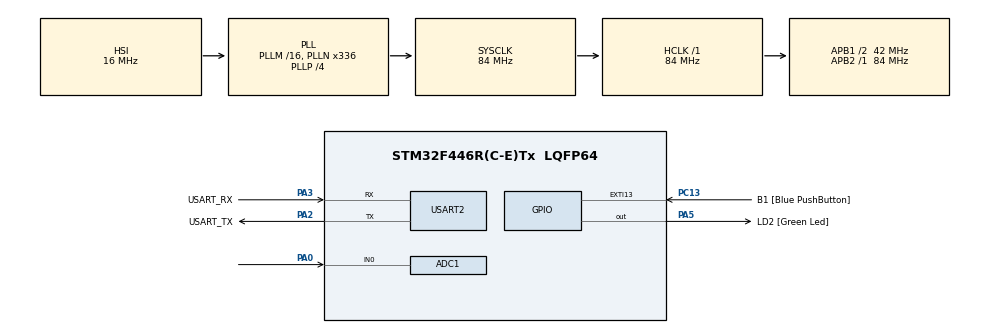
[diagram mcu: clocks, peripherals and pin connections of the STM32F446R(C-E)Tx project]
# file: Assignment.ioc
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ADC1.Channel-2\#ChannelRegularConversion=ADC_CHANNEL_0
ADC1.DMAContinuousRequests=ENABLE
ADC1.NbrOfConversionFlag=1
ADC1.Rank-2\#ChannelRegularConversion=1
ADC1.SamplingTime-2\#ChannelRegularConversion=ADC_SAMPLETIME_3CYCLES
ADC1.master=1
Dma.ADC1.0.Direction=DMA_PERIPH_TO_MEMORY
Dma.ADC1.0.FIFOMode=DMA_FIFOMODE_DISABLE
Dma.ADC1.0.Instance=DMA2_Stream0
Dma.ADC1.0.MemDataAlignment=DMA_MDATAALIGN_HALFWORD
Dma.ADC1.0.MemInc=DMA_MINC_ENABLE
Dma.ADC1.0.Mode=DMA_NORMAL
Dma.ADC1.0.PeriphDataAlignment=DMA_PDATAALIGN_HALFWORD
Dma.ADC1.0.PeriphInc=DMA_PINC_DISABLE
Dma.ADC1.0.Priority=DMA_PRIORITY_HIGH
Dma.Request0=ADC1
Mcu.Family=STM32F4
Mcu.Name=STM32F446R(C-E)Tx
Mcu.Package=LQFP64
NVIC.DMA2_Stream0_IRQn=true\:0\:0\:false\:false\:true\:false\:true\:true
NVIC.PriorityGroup=NVIC_PRIORITYGROUP_0
PA0-WKUP.Signal=ADCx_IN0
PA13.GPIO_Label=TMS
PA13.Mode=Serial_Wire
PA13.Signal=SYS_JTMS-SWDIO
PA14.GPIO_Label=TCK
PA14.Mode=Serial_Wire
PA14.Signal=SYS_JTCK-SWCLK
PA2.GPIO_Label=USART_TX
PA2.Mode=Asynchronous
PA2.Signal=USART2_TX
PA3.GPIO_Label=USART_RX
PA3.Mode=Asynchronous
PA3.Signal=USART2_RX
PA5.GPIO_Label=LD2 [Green Led]
PA5.Signal=GPIO_Output
PB3.GPIO_Label=SWO
PB3.Signal=SYS_JTDO-SWO
PC13.GPIO_Label=B1 [Blue PushButton]
PC13.GPIO_ModeDefaultEXTI=GPIO_MODE_IT_FALLING
PC13.Signal=GPXTI13
PC14-OSC32_IN.Mode=LSE-External-Oscillator
PC14-OSC32_IN.Signal=RCC_OSC32_IN
PC15-OSC32_OUT.Mode=LSE-External-Oscillator
PC15-OSC32_OUT.Signal=RCC_OSC32_OUT
PH0-OSC_IN.Mode=HSE-External-Oscillator
PH0-OSC_IN.Signal=RCC_OSC_IN
PH1-OSC_OUT.Mode=HSE-External-Oscillator
PH1-OSC_OUT.Signal=RCC_OSC_OUT
ProjectManager.HeapSize=0x200
ProjectManager.StackSize=0x400
ProjectManager.TargetToolchain=STM32CubeIDE
RCC.48MHZClocksFreq_Value=84000000
RCC.AHBFreq_Value=84000000
RCC.APB1CLKDivider=RCC_HCLK_DIV2
RCC.APB1Freq_Value=42000000
RCC.APB1TimFreq_Value=84000000
RCC.APB2Freq_Value=84000000
RCC.APB2TimFreq_Value=84000000
RCC.CortexFreq_Value=84000000
RCC.FLatency-AdvancedSettings=FLASH_LATENCY_2
RCC.HCLKFreq_Value=84000000
RCC.HSE_VALUE=8000000
RCC.HSI_VALUE=16000000
RCC.PLLN=336
RCC.PLLP=RCC_PLLP_DIV4
RCC.SYSCLKFreq_VALUE=84000000
RCC.SYSCLKSource=RCC_SYSCLKSOURCE_PLLCLK
RCC.USBFreq_Value=168000000
RCC.VCOOutputFreq_Value=336000000
SH.ADCx_IN0.0=ADC1_IN0,IN0
TIM2.Period=99
TIM2.Prescaler=8399
TIM2.TIM_MasterOutputTrigger=TIM_TRGO_UPDATE
USART2.VirtualMode=VM_ASYNC
VP_TIM2_VS_ClockSourceINT.Mode=Internal
board=NUCLEO-F446RE

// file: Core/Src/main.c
/* USER CODE BEGIN Header */
/**
  ******************************************************************************
  * @file           : main.c
  * @brief          : Main program body
  ******************************************************************************
  * @attention
  *
  * Copyright (c) 2026 STMicroelectronics.
  * All rights reserved.
  *
  * This software is licensed under terms that can be found in the LICENSE file
  * in the root directory of this software component.
  * If no LICENSE file comes with this software, it is provided AS-IS.
  *
  ******************************************************************************
  */
/* USER CODE END Header */
#include "main.h"

/* USER CODE BEGIN Includes */
#include <stdio.h>
#include <string.h>

/* USER CODE END Includes */

ADC_HandleTypeDef hadc1;
DMA_HandleTypeDef hdma_adc1;

TIM_HandleTypeDef htim2;

UART_HandleTypeDef huart2;

/* USER CODE BEGIN PV */

/*uint16_t adcBuf[ADC_BUF_LEN];
char uartTxBuf[256];

extern ADC_HandleTypeDef hadc1;
extern TIM_HandleTypeDef htim2;
extern UART_HandleTypeDef huart2;

void sendAdcDataOverUart(uint16_t start, uint16_t len);***/
/* USER CODE END PV */

void SystemClock_Config(void);
static void MX_GPIO_Init(void);
static void MX_DMA_Init(void);
static void MX_ADC1_Init(void);
static void MX_USART2_UART_Init(void);
static void MX_TIM2_Init(void);
/* USER CODE BEGIN PFP */
#define ADC_BUF_LEN 64

uint16_t adcBuf[ADC_BUF_LEN];
char uartTxBuf[256];

extern ADC_HandleTypeDef hadc1;
extern TIM_HandleTypeDef htim2;
extern UART_HandleTypeDef huart2;

void sendAdcDataOverUart(uint16_t start, uint16_t len);
/* USER CODE END PFP */

int main(void)
{

  /* MCU Configuration--------------------------------------------------------*/

  /* Reset of all peripherals, Initializes the Flash interface and the Systick. */
  HAL_Init();

  /* Configure the system clock */
  SystemClock_Config();

  /* Initialize all configured peripherals */
  MX_GPIO_Init();
  MX_DMA_Init();
  MX_ADC1_Init();
  MX_USART2_UART_Init();
  MX_TIM2_Init();
  /* USER CODE BEGIN 2 */
  	HAL_ADC_Start_DMA(&hadc1, (uint32_t *)adcBuf, ADC_BUF_LEN);

    /* Start TIM2 base – 100 Hz, triggers ADC via TRGO */
    HAL_TIM_Base_Start(&htim2);
  /* USER CODE END 2 */

  /* Infinite loop */
  while (1)
  {

  }
}

void SystemClock_Config(void)
{
  RCC_OscInitTypeDef RCC_OscInitStruct = {0};
  RCC_ClkInitTypeDef RCC_ClkInitStruct = {0};

  /** Configure the main internal regulator output voltage
  */
  __HAL_RCC_PWR_CLK_ENABLE();
  __HAL_PWR_VOLTAGESCALING_CONFIG(PWR_REGULATOR_VOLTAGE_SCALE3);

  /** Initializes the RCC Oscillators according to the specified parameters
  * in the RCC_OscInitTypeDef structure.
  */
  RCC_OscInitStruct.OscillatorType = RCC_OSCILLATORTYPE_HSI;
  RCC_OscInitStruct.HSIState = RCC_HSI_ON;
  RCC_OscInitStruct.HSICalibrationValue = RCC_HSICALIBRATION_DEFAULT;
  RCC_OscInitStruct.PLL.PLLState = RCC_PLL_ON;
  RCC_OscInitStruct.PLL.PLLSource = RCC_PLLSOURCE_HSI;
  RCC_OscInitStruct.PLL.PLLM = 16;
  RCC_OscInitStruct.PLL.PLLN = 336;
  RCC_OscInitStruct.PLL.PLLP = RCC_PLLP_DIV4;
  RCC_OscInitStruct.PLL.PLLQ = 2;
  RCC_OscInitStruct.PLL.PLLR = 2;
  if (HAL_RCC_OscConfig(&RCC_OscInitStruct) != HAL_OK)
  {
    Error_Handler();
  }

  /** Initializes the CPU, AHB and APB buses clocks
  */
  RCC_ClkInitStruct.ClockType = RCC_CLOCKTYPE_HCLK|RCC_CLOCKTYPE_SYSCLK
                              |RCC_CLOCKTYPE_PCLK1|RCC_CLOCKTYPE_PCLK2;
  RCC_ClkInitStruct.SYSCLKSource = RCC_SYSCLKSOURCE_PLLCLK;
  RCC_ClkInitStruct.AHBCLKDivider = RCC_SYSCLK_DIV1;
  RCC_ClkInitStruct.APB1CLKDivider = RCC_HCLK_DIV2;
  RCC_ClkInitStruct.APB2CLKDivider = RCC_HCLK_DIV1;

  if (HAL_RCC_ClockConfig(&RCC_ClkInitStruct, FLASH_LATENCY_2) != HAL_OK)
  {
    Error_Handler();
  }
}

static void MX_ADC1_Init(void)
{

  ADC_ChannelConfTypeDef sConfig = {0};

  /** Configure the global features of the ADC (Clock, Resolution, Data Alignment and number of conversion)
  */
  hadc1.Instance = ADC1;
  hadc1.Init.ClockPrescaler = ADC_CLOCK_SYNC_PCLK_DIV4;
  hadc1.Init.Resolution = ADC_RESOLUTION_12B;
  hadc1.Init.ScanConvMode = DISABLE;
  hadc1.Init.ContinuousConvMode = DISABLE;
  hadc1.Init.DiscontinuousConvMode = DISABLE;
  hadc1.Init.ExternalTrigConvEdge = ADC_EXTERNALTRIGCONVEDGE_NONE;
  hadc1.Init.ExternalTrigConv = ADC_SOFTWARE_START;
  hadc1.Init.DataAlign = ADC_DATAALIGN_RIGHT;
  hadc1.Init.NbrOfConversion = 1;
  hadc1.Init.DMAContinuousRequests = ENABLE;
  hadc1.Init.EOCSelection = ADC_EOC_SINGLE_CONV;
  if (HAL_ADC_Init(&hadc1) != HAL_OK)
  {
    Error_Handler();
  }

  /** Configure for the selected ADC regular channel its corresponding rank in the sequencer and its sample time.
  */
  sConfig.Channel = ADC_CHANNEL_0;
  sConfig.Rank = 1;
  sConfig.SamplingTime = ADC_SAMPLETIME_3CYCLES;
  if (HAL_ADC_ConfigChannel(&hadc1, &sConfig) != HAL_OK)
  {
    Error_Handler();
  }

}

static void MX_TIM2_Init(void)
{

  TIM_ClockConfigTypeDef sClockSourceConfig = {0};
  TIM_MasterConfigTypeDef sMasterConfig = {0};

  htim2.Instance = TIM2;
  htim2.Init.Prescaler = 8399;
  htim2.Init.CounterMode = TIM_COUNTERMODE_UP;
  htim2.Init.Period = 99;
  htim2.Init.ClockDivision = TIM_CLOCKDIVISION_DIV1;
  htim2.Init.AutoReloadPreload = TIM_AUTORELOAD_PRELOAD_DISABLE;
  if (HAL_TIM_Base_Init(&htim2) != HAL_OK)
  {
    Error_Handler();
  }
  sClockSourceConfig.ClockSource = TIM_CLOCKSOURCE_INTERNAL;
  if (HAL_TIM_ConfigClockSource(&htim2, &sClockSourceConfig) != HAL_OK)
  {
    Error_Handler();
  }
  sMasterConfig.MasterOutputTrigger = TIM_TRGO_UPDATE;
  sMasterConfig.MasterSlaveMode = TIM_MASTERSLAVEMODE_DISABLE;
  if (HAL_TIMEx_MasterConfigSynchronization(&htim2, &sMasterConfig) != HAL_OK)
  {
    Error_Handler();
  }

}

static void MX_USART2_UART_Init(void)
{

  huart2.Instance = USART2;
  huart2.Init.BaudRate = 115200;
  huart2.Init.WordLength = UART_WORDLENGTH_8B;
  huart2.Init.StopBits = UART_STOPBITS_1;
  huart2.Init.Parity = UART_PARITY_NONE;
  huart2.Init.Mode = UART_MODE_TX_RX;
  huart2.Init.HwFlowCtl = UART_HWCONTROL_NONE;
  huart2.Init.OverSampling = UART_OVERSAMPLING_16;
  if (HAL_UART_Init(&huart2) != HAL_OK)
  {
    Error_Handler();
  }

}

static void MX_DMA_Init(void)
{

  /* DMA controller clock enable */
  __HAL_RCC_DMA2_CLK_ENABLE();

  /* DMA interrupt init */
  /* DMA2_Stream0_IRQn interrupt configuration */
  HAL_NVIC_SetPriority(DMA2_Stream0_IRQn, 0, 0);
  HAL_NVIC_EnableIRQ(DMA2_Stream0_IRQn);

}

static void MX_GPIO_Init(void)
{
  GPIO_InitTypeDef GPIO_InitStruct = {0};

  /* GPIO Ports Clock Enable */
  __HAL_RCC_GPIOC_CLK_ENABLE();
  __HAL_RCC_GPIOH_CLK_ENABLE();
  __HAL_RCC_GPIOA_CLK_ENABLE();
  __HAL_RCC_GPIOB_CLK_ENABLE();

  /*Configure GPIO pin Output Level */
  HAL_GPIO_WritePin(LD2_GPIO_Port, LD2_Pin, GPIO_PIN_RESET);

  /*Configure GPIO pin : B1_Pin */
  GPIO_InitStruct.Pin = B1_Pin;
  GPIO_InitStruct.Mode = GPIO_MODE_IT_FALLING;
  GPIO_InitStruct.Pull = GPIO_NOPULL;
  HAL_GPIO_Init(B1_GPIO_Port, &GPIO_InitStruct);

  /*Configure GPIO pin : LD2_Pin */
  GPIO_InitStruct.Pin = LD2_Pin;
  GPIO_InitStruct.Mode = GPIO_MODE_OUTPUT_PP;
  GPIO_InitStruct.Pull = GPIO_NOPULL;
  GPIO_InitStruct.Speed = GPIO_SPEED_FREQ_LOW;
  HAL_GPIO_Init(LD2_GPIO_Port, &GPIO_InitStruct);

}

/* USER CODE BEGIN 4 */
void sendAdcDataOverUart(uint16_t start, uint16_t len)
{
    int pos = 0;

    for (uint16_t i = 0; i < len; i++)
    {
        pos += snprintf(&uartTxBuf[pos],
                        sizeof(uartTxBuf) - pos,
                        "%u\r\n",
                        adcBuf[start + i]);
        if (pos >= (int)(sizeof(uartTxBuf) - 8))
            break;
    }

    HAL_UART_Transmit(&huart2,
                      (uint8_t *)uartTxBuf,
                      pos,
                      HAL_MAX_DELAY);
}

void HAL_ADC_ConvHalfCpltCallback(ADC_HandleTypeDef *hadc)
{
    if (hadc->Instance == ADC1)
    {
        sendAdcDataOverUart(0, ADC_BUF_LEN / 2);
    }
}

void HAL_ADC_ConvCpltCallback(ADC_HandleTypeDef *hadc)
{
    if (hadc->Instance == ADC1)
    {
        sendAdcDataOverUart(ADC_BUF_LEN / 2, ADC_BUF_LEN / 2);
    }
}
/* USER CODE END 4 */

void Error_Handler(void)
{
  __disable_irq();
  while (1)
  {
  }
}
